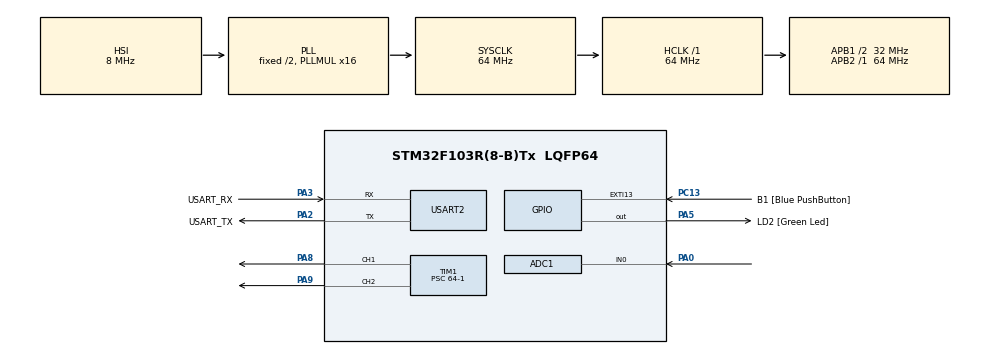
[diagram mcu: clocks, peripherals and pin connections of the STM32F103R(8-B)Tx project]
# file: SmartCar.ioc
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ADC1.Channel-0\#ChannelRegularConversion=ADC_CHANNEL_0
ADC1.ContinuousConvMode=ENABLE
ADC1.NbrOfConversionFlag=1
ADC1.Rank-0\#ChannelRegularConversion=1
ADC1.SamplingTime-0\#ChannelRegularConversion=ADC_SAMPLETIME_239CYCLES_5
ADC1.master=1
Mcu.Family=STM32F1
Mcu.Name=STM32F103R(8-B)Tx
Mcu.Package=LQFP64
NVIC.EXTI15_10_IRQn=true\:0\:0\:false\:false\:true\:true\:true\:true
NVIC.PriorityGroup=NVIC_PRIORITYGROUP_4
PA0-WKUP.Signal=ADCx_IN0
PA13.GPIO_Label=TMS
PA13.Mode=Serial_Wire
PA13.Signal=SYS_JTMS-SWDIO
PA14.GPIO_Label=TCK
PA14.Mode=Serial_Wire
PA14.Signal=SYS_JTCK-SWCLK
PA2.GPIO_Label=USART_TX
PA2.GPIO_Mode=GPIO_MODE_AF_PP
PA2.GPIO_PuPd=GPIO_NOPULL
PA2.GPIO_Speed=GPIO_SPEED_FREQ_LOW
PA2.Mode=Asynchronous
PA2.Signal=USART2_TX
PA3.GPIO_Label=USART_RX
PA3.GPIO_Mode=GPIO_MODE_AF_PP
PA3.GPIO_PuPd=GPIO_NOPULL
PA3.GPIO_Speed=GPIO_SPEED_FREQ_LOW
PA3.Mode=Asynchronous
PA3.Signal=USART2_RX
PA5.GPIO_Label=LD2 [Green Led]
PA5.GPIO_ModeDefaultOutputPP=GPIO_MODE_OUTPUT_PP
PA5.GPIO_PuPd=GPIO_NOPULL
PA5.GPIO_Speed=GPIO_SPEED_FREQ_LOW
PA5.Signal=GPIO_Output
PA8.Signal=S_TIM1_CH1
PA9.Signal=S_TIM1_CH2
PB3.GPIO_Label=SWO
PB3.Signal=SYS_JTDO-TRACESWO
PC13-TAMPER-RTC.GPIO_Label=B1 [Blue PushButton]
PC13-TAMPER-RTC.GPIO_PuPd=GPIO_NOPULL
PC13-TAMPER-RTC.Signal=GPXTI13
PC14-OSC32_IN.Mode=LSE-External-Oscillator
PC14-OSC32_IN.Signal=RCC_OSC32_IN
PC15-OSC32_OUT.Mode=LSE-External-Oscillator
PC15-OSC32_OUT.Signal=RCC_OSC32_OUT
PD0-OSC_IN.Mode=HSE-External-Clock-Source
PD0-OSC_IN.Signal=RCC_OSC_IN
PD1-OSC_OUT.Mode=HSE-External-Clock-Source
PD1-OSC_OUT.Signal=RCC_OSC_OUT
ProjectManager.HeapSize=0x200
ProjectManager.StackSize=0x400
ProjectManager.TargetToolchain=STM32CubeIDE
RCC.ADCPresc=RCC_ADCPCLK2_DIV8
RCC.AHBFreq_Value=64000000
RCC.APB1CLKDivider=RCC_HCLK_DIV2
RCC.APB1Freq_Value=32000000
RCC.APB1TimFreq_Value=64000000
RCC.APB2Freq_Value=64000000
RCC.APB2TimFreq_Value=64000000
RCC.HCLKFreq_Value=64000000
RCC.PLLMUL=RCC_PLL_MUL16
RCC.RTCClockSelection=RCC_RTCCLKSOURCE_LSE
RCC.SYSCLKFreq_VALUE=64000000
RCC.SYSCLKSource=RCC_SYSCLKSOURCE_PLLCLK
RCC.USBFreq_Value=64000000
SH.ADCx_IN0.0=ADC1_IN0,IN0
SH.S_TIM1_CH1.0=TIM1_CH1,PWM Generation1 CH1
SH.S_TIM1_CH2.0=TIM1_CH2,PWM Generation2 CH2
TIM1.Channel-PWM\ Generation1\ CH1=TIM_CHANNEL_1
TIM1.Channel-PWM\ Generation2\ CH2=TIM_CHANNEL_2
TIM1.Period=10000-1
TIM1.Prescaler=64-1
TIM1.Pulse-PWM\ Generation1\ CH1=1500
TIM1.Pulse-PWM\ Generation2\ CH2=1500
USART2.VirtualMode=VM_ASYNC
VP_TIM1_VS_ClockSourceINT.Mode=Internal
board=NUCLEO-F103RB

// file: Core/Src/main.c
/* USER CODE BEGIN Header */
/**
  ******************************************************************************
  * @file           : main.c
  * @brief          : Main program body
  ******************************************************************************
  * @attention
  *
  * Copyright (c) 2022 STMicroelectronics.
  * All rights reserved.
  *
  * This software is licensed under terms that can be found in the LICENSE file
  * in the root directory of this software component.
  * If no LICENSE file comes with this software, it is provided AS-IS.
  *
  ******************************************************************************
  */
/* USER CODE END Header */
#include "main.h"

/* USER CODE BEGIN Includes */
#include<stdio.h>
/* USER CODE END Includes */

 ADC_HandleTypeDef hadc1;

TIM_HandleTypeDef htim1;

UART_HandleTypeDef huart2;

void SystemClock_Config(void);
static void MX_GPIO_Init(void);
static void MX_USART2_UART_Init(void);
static void MX_TIM1_Init(void);
static void MX_ADC1_Init(void);
/* USER CODE BEGIN PFP */
#ifdef __GNUC__
/* With GCC, small printf (option LD Linker->Libraries->Small printf
   set to 'Yes') calls __io_putchar() */
#define PUTCHAR_PROTOTYPE int __io_putchar(int ch)
#else
#define PUTCHAR_PROTOTYPE int fputc(int ch, FILE *f)
#endif /* __GNUC__ */
/* USER CODE END PFP */

int main(void)
{
  /* USER CODE BEGIN 1 */
	uint32_t adc_value;
  /* USER CODE END 1 */

  /* MCU Configuration--------------------------------------------------------*/

  /* Reset of all peripherals, Initializes the Flash interface and the Systick. */
  HAL_Init();

  /* Configure the system clock */
  SystemClock_Config();

  /* Initialize all configured peripherals */
  MX_GPIO_Init();
  MX_USART2_UART_Init();
  MX_TIM1_Init();
  MX_ADC1_Init();
  /* USER CODE BEGIN 2 */

  /*Timer1 Start*/
    HAL_TIM_PWM_Start(&htim1, TIM_CHANNEL_1);
    HAL_TIM_PWM_Start(&htim1, TIM_CHANNEL_2);

    TIM1->CCR1 = 1700;
    TIM1->CCR2 = 1300;

    HAL_ADC_Start(&hadc1);

  /* USER CODE END 2 */

  /* Infinite loop */
  /* USER CODE BEGIN WHILE */
  while (1)
  {

	  HAL_ADC_PollForConversion(&hadc1, 10);

	  adc_value = HAL_ADC_GetValue(&hadc1);

	  printf("\r adc value : %ld\n\r", adc_value);

    /* USER CODE END WHILE */

  }
}

void SystemClock_Config(void)
{
  RCC_OscInitTypeDef RCC_OscInitStruct = {0};
  RCC_ClkInitTypeDef RCC_ClkInitStruct = {0};
  RCC_PeriphCLKInitTypeDef PeriphClkInit = {0};

  /** Initializes the RCC Oscillators according to the specified parameters
  * in the RCC_OscInitTypeDef structure.
  */
  RCC_OscInitStruct.OscillatorType = RCC_OSCILLATORTYPE_HSI;
  RCC_OscInitStruct.HSIState = RCC_HSI_ON;
  RCC_OscInitStruct.HSICalibrationValue = RCC_HSICALIBRATION_DEFAULT;
  RCC_OscInitStruct.PLL.PLLState = RCC_PLL_ON;
  RCC_OscInitStruct.PLL.PLLSource = RCC_PLLSOURCE_HSI_DIV2;
  RCC_OscInitStruct.PLL.PLLMUL = RCC_PLL_MUL16;
  if (HAL_RCC_OscConfig(&RCC_OscInitStruct) != HAL_OK)
  {
    Error_Handler();
  }

  /** Initializes the CPU, AHB and APB buses clocks
  */
  RCC_ClkInitStruct.ClockType = RCC_CLOCKTYPE_HCLK|RCC_CLOCKTYPE_SYSCLK
                              |RCC_CLOCKTYPE_PCLK1|RCC_CLOCKTYPE_PCLK2;
  RCC_ClkInitStruct.SYSCLKSource = RCC_SYSCLKSOURCE_PLLCLK;
  RCC_ClkInitStruct.AHBCLKDivider = RCC_SYSCLK_DIV1;
  RCC_ClkInitStruct.APB1CLKDivider = RCC_HCLK_DIV2;
  RCC_ClkInitStruct.APB2CLKDivider = RCC_HCLK_DIV1;

  if (HAL_RCC_ClockConfig(&RCC_ClkInitStruct, FLASH_LATENCY_2) != HAL_OK)
  {
    Error_Handler();
  }
  PeriphClkInit.PeriphClockSelection = RCC_PERIPHCLK_ADC;
  PeriphClkInit.AdcClockSelection = RCC_ADCPCLK2_DIV8;
  if (HAL_RCCEx_PeriphCLKConfig(&PeriphClkInit) != HAL_OK)
  {
    Error_Handler();
  }
}

static void MX_ADC1_Init(void)
{

  ADC_ChannelConfTypeDef sConfig = {0};

  /** Common config
  */
  hadc1.Instance = ADC1;
  hadc1.Init.ScanConvMode = ADC_SCAN_DISABLE;
  hadc1.Init.ContinuousConvMode = ENABLE;
  hadc1.Init.DiscontinuousConvMode = DISABLE;
  hadc1.Init.ExternalTrigConv = ADC_SOFTWARE_START;
  hadc1.Init.DataAlign = ADC_DATAALIGN_RIGHT;
  hadc1.Init.NbrOfConversion = 1;
  if (HAL_ADC_Init(&hadc1) != HAL_OK)
  {
    Error_Handler();
  }

  /** Configure Regular Channel
  */
  sConfig.Channel = ADC_CHANNEL_0;
  sConfig.Rank = ADC_REGULAR_RANK_1;
  sConfig.SamplingTime = ADC_SAMPLETIME_239CYCLES_5;
  if (HAL_ADC_ConfigChannel(&hadc1, &sConfig) != HAL_OK)
  {
    Error_Handler();
  }

}

static void MX_TIM1_Init(void)
{

  TIM_ClockConfigTypeDef sClockSourceConfig = {0};
  TIM_MasterConfigTypeDef sMasterConfig = {0};
  TIM_OC_InitTypeDef sConfigOC = {0};
  TIM_BreakDeadTimeConfigTypeDef sBreakDeadTimeConfig = {0};

  htim1.Instance = TIM1;
  htim1.Init.Prescaler = 64-1;
  htim1.Init.CounterMode = TIM_COUNTERMODE_UP;
  htim1.Init.Period = 10000-1;
  htim1.Init.ClockDivision = TIM_CLOCKDIVISION_DIV1;
  htim1.Init.RepetitionCounter = 0;
  htim1.Init.AutoReloadPreload = TIM_AUTORELOAD_PRELOAD_DISABLE;
  if (HAL_TIM_Base_Init(&htim1) != HAL_OK)
  {
    Error_Handler();
  }
  sClockSourceConfig.ClockSource = TIM_CLOCKSOURCE_INTERNAL;
  if (HAL_TIM_ConfigClockSource(&htim1, &sClockSourceConfig) != HAL_OK)
  {
    Error_Handler();
  }
  if (HAL_TIM_PWM_Init(&htim1) != HAL_OK)
  {
    Error_Handler();
  }
  sMasterConfig.MasterOutputTrigger = TIM_TRGO_RESET;
  sMasterConfig.MasterSlaveMode = TIM_MASTERSLAVEMODE_DISABLE;
  if (HAL_TIMEx_MasterConfigSynchronization(&htim1, &sMasterConfig) != HAL_OK)
  {
    Error_Handler();
  }
  sConfigOC.OCMode = TIM_OCMODE_PWM1;
  sConfigOC.Pulse = 1500;
  sConfigOC.OCPolarity = TIM_OCPOLARITY_HIGH;
  sConfigOC.OCNPolarity = TIM_OCNPOLARITY_HIGH;
  sConfigOC.OCFastMode = TIM_OCFAST_DISABLE;
  sConfigOC.OCIdleState = TIM_OCIDLESTATE_RESET;
  sConfigOC.OCNIdleState = TIM_OCNIDLESTATE_RESET;
  if (HAL_TIM_PWM_ConfigChannel(&htim1, &sConfigOC, TIM_CHANNEL_1) != HAL_OK)
  {
    Error_Handler();
  }
  if (HAL_TIM_PWM_ConfigChannel(&htim1, &sConfigOC, TIM_CHANNEL_2) != HAL_OK)
  {
    Error_Handler();
  }
  sBreakDeadTimeConfig.OffStateRunMode = TIM_OSSR_DISABLE;
  sBreakDeadTimeConfig.OffStateIDLEMode = TIM_OSSI_DISABLE;
  sBreakDeadTimeConfig.LockLevel = TIM_LOCKLEVEL_OFF;
  sBreakDeadTimeConfig.DeadTime = 0;
  sBreakDeadTimeConfig.BreakState = TIM_BREAK_DISABLE;
  sBreakDeadTimeConfig.BreakPolarity = TIM_BREAKPOLARITY_HIGH;
  sBreakDeadTimeConfig.AutomaticOutput = TIM_AUTOMATICOUTPUT_DISABLE;
  if (HAL_TIMEx_ConfigBreakDeadTime(&htim1, &sBreakDeadTimeConfig) != HAL_OK)
  {
    Error_Handler();
  }
  HAL_TIM_MspPostInit(&htim1);

}

static void MX_USART2_UART_Init(void)
{

  huart2.Instance = USART2;
  huart2.Init.BaudRate = 115200;
  huart2.Init.WordLength = UART_WORDLENGTH_8B;
  huart2.Init.StopBits = UART_STOPBITS_1;
  huart2.Init.Parity = UART_PARITY_NONE;
  huart2.Init.Mode = UART_MODE_TX_RX;
  huart2.Init.HwFlowCtl = UART_HWCONTROL_NONE;
  huart2.Init.OverSampling = UART_OVERSAMPLING_16;
  if (HAL_UART_Init(&huart2) != HAL_OK)
  {
    Error_Handler();
  }

}

static void MX_GPIO_Init(void)
{
  GPIO_InitTypeDef GPIO_InitStruct = {0};

  /* GPIO Ports Clock Enable */
  __HAL_RCC_GPIOC_CLK_ENABLE();
  __HAL_RCC_GPIOD_CLK_ENABLE();
  __HAL_RCC_GPIOA_CLK_ENABLE();
  __HAL_RCC_GPIOB_CLK_ENABLE();

  /*Configure GPIO pin Output Level */
  HAL_GPIO_WritePin(LD2_GPIO_Port, LD2_Pin, GPIO_PIN_RESET);

  /*Configure GPIO pin : B1_Pin */
  GPIO_InitStruct.Pin = B1_Pin;
  GPIO_InitStruct.Mode = GPIO_MODE_IT_RISING;
  GPIO_InitStruct.Pull = GPIO_NOPULL;
  HAL_GPIO_Init(B1_GPIO_Port, &GPIO_InitStruct);

  /*Configure GPIO pin : LD2_Pin */
  GPIO_InitStruct.Pin = LD2_Pin;
  GPIO_InitStruct.Mode = GPIO_MODE_OUTPUT_PP;
  GPIO_InitStruct.Pull = GPIO_NOPULL;
  GPIO_InitStruct.Speed = GPIO_SPEED_FREQ_LOW;
  HAL_GPIO_Init(LD2_GPIO_Port, &GPIO_InitStruct);

  /* EXTI interrupt init*/
  HAL_NVIC_SetPriority(EXTI15_10_IRQn, 0, 0);
  HAL_NVIC_EnableIRQ(EXTI15_10_IRQn);

}

/* USER CODE BEGIN 4 */
PUTCHAR_PROTOTYPE
{
  /* Place your implementation of fputc here */
  /* e.g. write a character to the USART1 and Loop until the end of transmission */
  HAL_UART_Transmit(&huart2, (uint8_t *)&ch, 1, 0xFFFF);

  return ch;
}
/* USER CODE END 4 */

void Error_Handler(void)
{
  __disable_irq();
  while (1)
  {
  }
}
